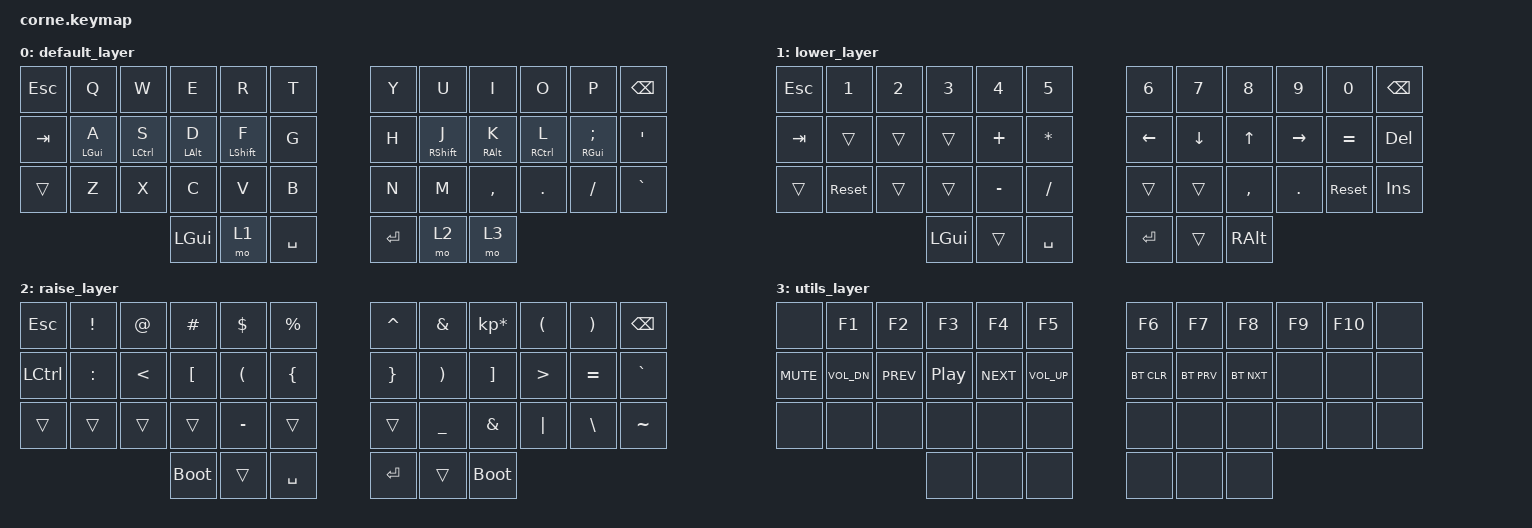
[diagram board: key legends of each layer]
/*
 * Copyright (c) 2020 The ZMK Contributors
 *
 * SPDX-License-Identifier: MIT
 */

#include <behaviors.dtsi>
#include <dt-bindings/zmk/keys.h>
#include <dt-bindings/zmk/bt.h>

/ {
        keymap {
                compatible = "zmk,keymap";

                default_layer {
// -------------------------------------------------------------------------------------------------------------------------------------
// | ESC  |     Q    |      W     |     E     |      R     |    T    | |    Y    |      U     |     I    |     O    |     P    | BKSP  |
// | TAB  | (LGUI) A |  (LCTL) S  | (LALT) D  | (LSHIFT) F |    G    | |    H    | (RSHIFT) J | (RALT) K | (RCTL) L | (RGUI) ; |   '   |
// |      |     Z    |      X     |     C     |     V      |    B    | |    N    |      M     |     ,    |     .    |     /    | GRAVE |
//                                |    GUI    |    LWR     |   SPC   | |   ENT   |     RSE    |   ALT    |
                        bindings = <
   &kp ESC   &kp Q       &kp W      &kp E      &kp R        &kp T       &kp Y   &kp U         &kp I          &kp O       &kp P         &kp BSPC
   &kp TAB   &mt LGUI A  &mt LCTRL S &mt LALT D &mt LSHIFT F &kp G       &kp H   &mt RSHIFT J  &mt RALT K     &mt RCTRL L  &mt RGUI SEMI &kp SQT
   &trans    &kp Z       &kp X      &kp C      &kp V        &kp B       &kp N   &kp M         &kp COMMA      &kp DOT     &kp FSLH      &kp GRAVE
                                    &kp LGUI   &mo 1        &kp SPACE   &kp RET &mo 2         &mo 3
                        >;
                };
                lower_layer {
// -------------------------------------------------------------------------------
// |  ESC |  1  |  2  |  3  |  4  |  5  |   |  6  |  7  |  8  |  9  |  0  | BSPC |
// |  TAB |     |     |     |  +  |  *  |   | LFT | DWN |  UP | RGT |  =  | DEL  |
// |      |     |     |     |  -  |  /  |   |     |     |     |     |     | INS  |
//                    | GUI |     | SPC |   | ENT |     | ALT |
                        bindings = <
   &kp ESC    &kp N1       &kp N2       &kp N3       &kp N4       &kp N5         &kp N6   &kp N7   &kp N8    &kp N9    &kp N0     &kp BSPC
   &kp TAB    &trans       &trans       &trans       &kp PLUS     &kp STAR       &kp LEFT &kp DOWN &kp UP    &kp RIGHT &kp EQUAL  &kp DEL
   &trans     &sys_reset       &trans       &trans       &kp MINUS    &kp SLASH      &trans   &trans   &kp COMMA &kp DOT   &sys_reset  &kp INS
                          	        &kp LGUI     &trans       &kp SPACE      &kp RET  &trans   &kp RALT
                        >;
                };

                raise_layer {
// -------------------------------------------------------------------------------
// |  ESC |  !  |  @  |  #  |  $  |  %  |   |  ^  |  &  |  *  |  (  |  )  | BKSP  |
// | CTRL |  :  |  <  |  [  |  (  |  {  |   |  }  |  )  |  ]  |  >  |  =  |  `   |
// |      |     |     |     |  -  |     |   |     |  _  |  &  | "|" |  \  |  ~   |
//                    | GUI |     | SPC |   | ENT |     | ALT |
                        bindings = <
   &kp  ESC  &kp EXCL   &kp AT &kp HASH  &kp DLLR  &kp PRCNT   &kp CARET &kp AMPS   &kp KP_MULTIPLY &kp LPAR &kp RPAR  &kp BKSP
   &kp LCTRL &kp COLON  &kp LT &kp LBKT  &kp LPAR  &kp LBRC    &kp RBRC  &kp RPAR   &kp RBKT        &kp GT   &kp EQUAL &kp GRAVE
   &trans    &trans     &trans &trans    &kp MINUS &trans      &trans    &kp UNDER  &kp AMPS        &kp PIPE &kp BSLH  &kp TILDE
                    	     &bootloader &trans    &kp SPACE   &kp RET   &trans    &bootloader
                        >;
                };

		utils_layer {
// -------------------------------------------------------------------------------
// |        |    F1    |  F2    |  F3  | F4     | F5       |   | F6     |  F7    |  F8     | F9 | F10 |   |
// | C_MUTE | C_VOL_DN | C_PREV | C_PP | C_NEXT | C_VOL_UP |   | BT_CLR | BT_PRV | BT_NXT |    |     |   |
// |        |          |        |      |        |          |   |        |        |         |    |     |   |
//                              |      |        |          |   |        |        |         |
                        bindings = <
   &none       &kp F1        &kp F2      &kp F3    &kp F4      &kp F5          &kp F6      &kp F7       &kp F8       &kp F9    &kp F10  &none
   &kp C_MUTE  &kp C_VOL_DN  &kp C_PREV  &kp C_PP  &kp C_NEXT  &kp C_VOL_UP    &bt BT_CLR  &bt BT_PRV   &bt BT_NXT   &none     &none    &none
   &none       &none         &none       &none     &none       &none           &none       &none        &none        &none  &none    &none
                    	                 &none     &none       &none           &none       &none        &none
                        >;
                };
        };
};
